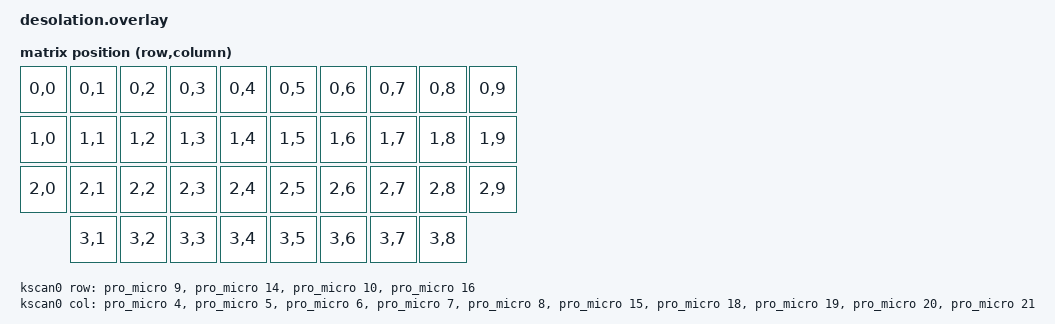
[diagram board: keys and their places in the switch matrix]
/*
 * Copyright (c) 2024 miketronic
 *
 * SPDX-License-Identifier: MIT
 *
 */
#include <dt-bindings/zmk/matrix_transform.h>
/ {
    chosen {
        zmk,kscan = &kscan0;
        zmk,matrix_transform = &default_transform;
    };
    default_transform: keymap_transform_0 {
        compatible = "zmk,matrix-transform";
        columns = <10>;
        rows = <4>;
        map = <
            RC(0,0) RC(0,1) RC(0,2) RC(0,3) RC(0,4) RC(0,5) RC(0,6) RC(0,7) RC(0,8) RC(0,9)
            RC(1,0) RC(1,1) RC(1,2) RC(1,3) RC(1,4) RC(1,5) RC(1,6) RC(1,7) RC(1,8) RC(1,9)
            RC(2,0) RC(2,1) RC(2,2) RC(2,3) RC(2,4) RC(2,5) RC(2,6) RC(2,7) RC(2,8) RC(2,9)
                    RC(3,1) RC(3,2) RC(3,3) RC(3,4) RC(3,5) RC(3,6) RC(3,7) RC(3,8)
        >;
    };

    kscan0: kscan {
        compatible = "zmk,kscan-gpio-matrix";
        label = "KSCAN0";
        diode-direction = "col2row";
        col-gpios
            = <&pro_micro 4 (GPIO_ACTIVE_HIGH)> // COL0
            , <&pro_micro 5 (GPIO_ACTIVE_HIGH)> // COL1
            , <&pro_micro 6 (GPIO_ACTIVE_HIGH)> // COL2
            , <&pro_micro 7 (GPIO_ACTIVE_HIGH)> // COL3
            , <&pro_micro 8 (GPIO_ACTIVE_HIGH)> // COL4
            , <&pro_micro 15 (GPIO_ACTIVE_HIGH)> // COL5
            , <&pro_micro 18 (GPIO_ACTIVE_HIGH)> // COL6
            , <&pro_micro 19 (GPIO_ACTIVE_HIGH)> // COL7
            , <&pro_micro 20 (GPIO_ACTIVE_HIGH)> // COL8
            , <&pro_micro 21 (GPIO_ACTIVE_HIGH)> // COL9
            ;
        row-gpios
            = <&pro_micro 9 (GPIO_ACTIVE_HIGH | GPIO_PULL_DOWN)> // ROW0
            , <&pro_micro 14 (GPIO_ACTIVE_HIGH | GPIO_PULL_DOWN)> // ROW1
            , <&pro_micro 10 (GPIO_ACTIVE_HIGH | GPIO_PULL_DOWN)> // ROW2
            , <&pro_micro 16 (GPIO_ACTIVE_HIGH | GPIO_PULL_DOWN)> // ROW3
            ;
    };
};
